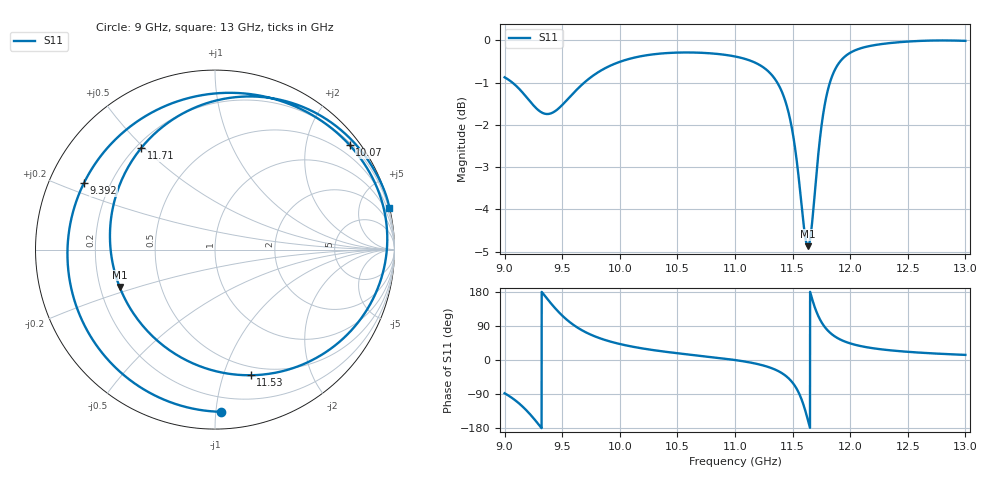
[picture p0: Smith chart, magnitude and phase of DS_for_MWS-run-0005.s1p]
! TOUCHSTONE file generated by CST DESIGN STUDIO
! Date and time: Tue Feb  4 16:41:36 2025
! Project name: C:\Work\MatlabApps\UnitCellOptimizationMatlab\CST\unitcell.cst
! Tree item: Tasks\Sweep1\SPara1\S-Parameters
! Header version: 2024
! Port assignment regex: !\s*Touchstone port\s*([0-9]+)\s*=\s*(CST MWS port|CST DES external port|CST DES block port)\s*(.+)\s* \(\"(.*)\"\)(\s*mode\s*([0-9]+))?.*
! Touchstone port assignment:
! Touchstone port 1 = CST DES external port 1 ("")
# GHz S MA R 50
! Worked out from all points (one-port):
!   4001 points, 9 GHz to 13 GHz, reference 50 ohm
!   lowest |S11| = -4.9 dB at 11.63 GHz (marker M1), VSWR 3.66, Z = 14.1 - j8.71 ohm
!   |S11| at or under -10 dB: nowhere
!   S11 on the Smith chart (normalised r, x): 9 GHz: 0.10, -1.03; 9.392 GHz: 0.11, +0.24; 10.07 GHz: 0.24, +2.91; 11.53 GHz: 0.42, -1.24; 11.71 GHz: 0.22, +0.49; 13 GHz: 0.04, +8.45
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9  0.9044 -87.8
9.099  0.8839 -108.0
9.182  0.8594 -130.6
9.293  0.8269 -169.2
9.392  0.819 153.2
9.5  0.8387 117.3
9.599  0.8668 92.4
9.731  0.9007 69.2
9.855  0.9244 54.5
10  0.9435 42.2
10.067  0.9498 37.7
10.5  0.9675 17.9
11  0.9573 -0.1
11.336  0.9044 -23.7
11.429  0.854 -39.2
11.5  0.7787 -59.9
11.532  0.7276 -74.2
11.584  0.6265 -109.0
11.633  0.5708 -158.6
11.669  0.6077 161.6
11.709  0.6999 125.9
11.75  0.7907 100.3
11.798  0.8645 80.2
11.886  0.9331 58.6
12  0.967 43.8
12.19  0.9862 31.4
12.5  0.997 21.6
13  0.999 13.5
